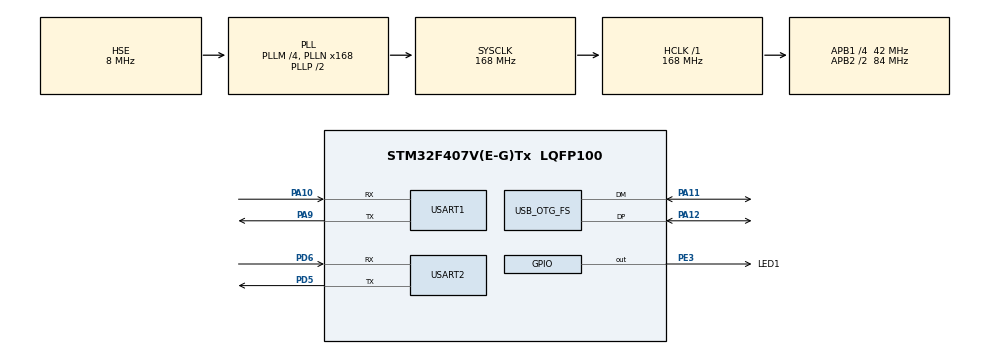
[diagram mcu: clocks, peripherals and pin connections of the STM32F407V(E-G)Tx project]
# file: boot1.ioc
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Mcu.Family=STM32F4
Mcu.Name=STM32F407V(E-G)Tx
Mcu.Package=LQFP100
NVIC.OTG_FS_IRQn=true\:0\:0\:false\:false\:true\:false\:true
NVIC.PriorityGroup=NVIC_PRIORITYGROUP_4
NVIC.USART1_IRQn=true\:0\:0\:false\:false\:true\:true\:true
PA10.Mode=Asynchronous
PA10.Signal=USART1_RX
PA11.Mode=Device_Only
PA11.Signal=USB_OTG_FS_DM
PA12.Mode=Device_Only
PA12.Signal=USB_OTG_FS_DP
PA13.Mode=Serial_Wire
PA13.Signal=SYS_JTMS-SWDIO
PA14.Mode=Serial_Wire
PA14.Signal=SYS_JTCK-SWCLK
PA9.Mode=Asynchronous
PA9.Signal=USART1_TX
PD5.Mode=Asynchronous
PD5.Signal=USART2_TX
PD6.Mode=Asynchronous
PD6.Signal=USART2_RX
PE3.GPIO_Label=LED1
PE3.Signal=GPIO_Output
PH0-OSC_IN.Mode=HSE-External-Oscillator
PH0-OSC_IN.Signal=RCC_OSC_IN
PH1-OSC_OUT.Mode=HSE-External-Oscillator
PH1-OSC_OUT.Signal=RCC_OSC_OUT
ProjectManager.HeapSize=0x1000
ProjectManager.StackSize=0x400
ProjectManager.TargetToolchain=MDK-ARM V5.32
RCC.48MHZClocksFreq_Value=48000000
RCC.AHBFreq_Value=168000000
RCC.APB1CLKDivider=RCC_HCLK_DIV4
RCC.APB1Freq_Value=42000000
RCC.APB1TimFreq_Value=84000000
RCC.APB2CLKDivider=RCC_HCLK_DIV2
RCC.APB2Freq_Value=84000000
RCC.APB2TimFreq_Value=168000000
RCC.CortexFreq_Value=168000000
RCC.HCLKFreq_Value=168000000
RCC.HSE_VALUE=8000000
RCC.HSI_VALUE=16000000
RCC.LSE_VALUE=32768
RCC.PLLM=4
RCC.PLLN=168
RCC.PLLQ=7
RCC.SYSCLKFreq_VALUE=168000000
RCC.SYSCLKSource=RCC_SYSCLKSOURCE_PLLCLK
RCC.VCOOutputFreq_Value=336000000
USART1.VirtualMode=VM_ASYNC
USART2.VirtualMode=VM_ASYNC
USB_DEVICE.CLASS_NAME_FS=MSC
USB_DEVICE.MSC_MEDIA_PACKET-MSC_FS=512
USB_DEVICE.USBD_MAX_STR_DESC_SIZ-MSC_FS=512
USB_DEVICE.VirtualMode-MSC_FS=Msc
USB_DEVICE.VirtualModeFS=Msc_FS
USB_OTG_FS.VirtualMode=Device_Only
VP_FATFS_VS_Generic.Mode=User_defined
VP_USB_DEVICE_VS_USB_DEVICE_MSC_FS.Mode=MSC_FS
board=custom

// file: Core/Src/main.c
/* USER CODE BEGIN Header */
/**
  ******************************************************************************
  * @file           : main.c
  * @brief          : Main program body
  ******************************************************************************
  * @attention
  *
  * <h2><center>&copy; Copyright (c) 2020 STMicroelectronics.
  * All rights reserved.</center></h2>
  *
  * This software component is licensed by ST under BSD 3-Clause license,
  * the "License"; You may not use this file except in compliance with the
  * License. You may obtain a copy of the License at:
  *                        opensource.org/licenses/BSD-3-Clause
  *
  ******************************************************************************
  */
/* USER CODE END Header */
#include "main.h"
#include "fatfs.h"
#include "usart.h"
#include "usb_device.h"
#include "gpio.h"

/* USER CODE BEGIN Includes */
#include "stmflash.h"
#include "kymodem.h"
#include "dev_com.h"
#include "drv_com.h"
#include "iap.h"
#include "flash_if.h"

/* USER CODE END Includes */

void SystemClock_Config(void);

/* USER CODE BEGIN 0 */

#define KAPP_ADDR  APPLICATION_ADDRESS

// -usb fatfs测试

FATFS fs;    // Work area (file system object) for logical drive
FIL fil;     // file objects
             /* File read buffers */
char filename[] = "0:/STM32cube.txt";
unsigned int count = 0;

unsigned char write_buf[50] = "skt t1 faker123\r\n";

uint8_t read_buf[8192];

#define WORK_BUFFER_SIZE  512
static char work_buffer[WORK_BUFFER_SIZE];
void ram_disk_test(void)
{
	FRESULT retSD;

	retSD = f_mkfs("0:/",FM_ANY,0,work_buffer,WORK_BUFFER_SIZE);
	if(retSD != FR_OK)
	{
			printf("f_mkfs sdcard error,err = %d\r\n", retSD);
			while(1);

	}else{
			printf("f_mk sdcard ok 1\r\n");

	}

		 printf("\r\n ****** FatFs Example ******\r\n\r\n");

    /*##-1- Register the file system object to the FatFs module ##############*/
	retSD = f_mount(&fs, "0:/", 0);
    if(retSD)
    {
        printf(" mount error : %d \r\n",retSD);
        Error_Handler();
    }
    else
        printf(" mount sucess!!! \r\n");

    // 挂载spi flash
    retSD = f_open(&USERFile, "0:/sudaroot.txt", FA_CREATE_ALWAYS | FA_WRITE);
    if(retSD == FR_OK)
    {
        printf("open ok\r\n");
        retSD = f_write(&USERFile, write_buf, strlen((const char *)write_buf), &count);
        if(retSD != FR_OK)
        {
            printf("f_write ,err = %d\r\n", retSD);
            count = 0;
            f_close(&USERFile);
        }
        else
        {
            printf("write ok:%d\n", count);
            printf("write buf :\r\n%s\r\n", write_buf);
            count = 0;
            f_close(&USERFile);
        }
    }
    else
    {
        printf("open sudaroot.txt,err = %d\r\n", retSD);
    }

    retSD = f_open(&USERFile, "0:/sudaroot.txt", FA_OPEN_EXISTING | FA_READ);
    if(retSD == FR_OK)
    {
        printf(" open sudaroot ok\r\n");
        retSD = f_read(&USERFile, read_buf, sizeof(read_buf), &count);
        if(retSD != FR_OK)
        {
            printf("f_read ,err = %d\r\n", retSD);
            f_close(&USERFile);
        }
        else
        {
            printf("open ok:%d\n", count);
            printf("read buf:\r\n%s\r\n", read_buf);
            f_close(&USERFile);
        }
    }
    else
    {
        printf("read sudaroot.txt ,err = %d\r\n", retSD);
    }
}

// usb完成之后读取bin
void system_usb_finish_read()
{
		FRESULT retSD;

		retSD = f_mount(&fs, "0:/", 0);
    if(retSD)
    {
        printf(" mount error : %d \r\n",retSD);
        Error_Handler();
    }
    else
        printf(" mount sucess!!! \r\n");

    retSD = f_open(&USERFile, "0:/update.bin", FA_OPEN_EXISTING | FA_READ);
    if(retSD == FR_OK)
    {
        printf(" open sudaroot ok\r\n");
        retSD = f_read(&USERFile, read_buf, sizeof(read_buf), &count);
        if(retSD != FR_OK)
        {
            printf("f_read ,err = %d\r\n", retSD);
            f_close(&USERFile);
        }
        else
        {
            printf("open ok: len == %d\n", count);
					  FLASH_If_Erase(KAPP_ADDR);
					  printf("flash erase ok\n");
						if (FLASH_If_Write(KAPP_ADDR,(uint32_t*)  read_buf, count/4) == FLASHIF_OK)
						{
							printf("data write ok\r\n");
							iap_load_app(KAPP_ADDR);
						}else{
								printf("data write error\r\n");
						}

            printf("read buf:\r\n%s\r\n", read_buf);
            f_close(&USERFile);
        }
    }
    else
    {
        printf("read sudaroot.txt ,err = %d\r\n", retSD);
    }
}

// fatfs init
void fatfs_init()
{
	FRESULT retSD;
	retSD = f_mkfs("0:/",FM_ANY,0,work_buffer,WORK_BUFFER_SIZE);
	if(retSD != FR_OK)
	{
			printf("f_mkfs sdcard error,err = %d\r\n", retSD);
			while(1);

	}else{
			printf("f_mk sdcard ok 1\r\n");

	}
}

/* USER CODE END 0 */

int main(void)
{

  /* MCU Configuration--------------------------------------------------------*/

  /* Reset of all peripherals, Initializes the Flash interface and the Systick. */
  HAL_Init();

  /* USER CODE BEGIN Init */
	FLASH_If_Init();
  /* USER CODE END Init */

  /* Configure the system clock */
  SystemClock_Config();

  /* Initialize all configured peripherals */
  MX_GPIO_Init();
  MX_USART1_UART_Init();
  MX_USART2_UART_Init();

	 MX_FATFS_Init();

	// 格式化fatfs
	 fatfs_init();
	 //ram_disk_test();
	 MX_USB_DEVICE_Init();
  /* USER CODE BEGIN 2 */

	LL_USART_EnableIT_RXNE(USART1);
	LL_USART_EnableIT_PE(USART1);

	dev_uart_init();
	printf("init\r\n");

	uint8_t old_usb_state = 0;
		uint8_t over_time = 0;
		uint8_t usb_input_state = 0;
  /* USER CODE END 2 */

  /* Infinite loop */
  /* USER CODE BEGIN WHILE */
  while (1)
  {
		dev_comctrl_handle();
		#ifdef USE_RX_MODE
		ymodem_loop();
		#endif

		if(hUsbDeviceFS.dev_state != old_usb_state){
			if(hUsbDeviceFS.dev_state== USBD_STATE_CONFIGURED){
				usb_input_state = 1;
				printf("usb 已经连接\r\n");
			}else if(hUsbDeviceFS.dev_state== USBD_STATE_SUSPENDED){
				printf("usb 断开成功\r\n");
				system_usb_finish_read();
			}else{
			}
			old_usb_state = hUsbDeviceFS.dev_state;
		}

		// 如果插入超时,
		if(over_time++>3){
			// 没检查到USB 直接运行APP
			if(usb_input_state == 0){
				printf("---system run -app\r\n");
				iap_load_app(KAPP_ADDR);
				printf("---system run -app error!!!!\r\n");
			}
		}
		HAL_Delay(1000);

    /* USER CODE END WHILE */

  }
}

void SystemClock_Config(void)
{
  RCC_OscInitTypeDef RCC_OscInitStruct = {0};
  RCC_ClkInitTypeDef RCC_ClkInitStruct = {0};

  /** Configure the main internal regulator output voltage
  */
  __HAL_RCC_PWR_CLK_ENABLE();
  __HAL_PWR_VOLTAGESCALING_CONFIG(PWR_REGULATOR_VOLTAGE_SCALE1);
  /** Initializes the RCC Oscillators according to the specified parameters
  * in the RCC_OscInitTypeDef structure.
  */
  RCC_OscInitStruct.OscillatorType = RCC_OSCILLATORTYPE_HSE;
  RCC_OscInitStruct.HSEState = RCC_HSE_ON;
  RCC_OscInitStruct.PLL.PLLState = RCC_PLL_ON;
  RCC_OscInitStruct.PLL.PLLSource = RCC_PLLSOURCE_HSE;
  RCC_OscInitStruct.PLL.PLLM = 4;
  RCC_OscInitStruct.PLL.PLLN = 168;
  RCC_OscInitStruct.PLL.PLLP = RCC_PLLP_DIV2;
  RCC_OscInitStruct.PLL.PLLQ = 7;
  if (HAL_RCC_OscConfig(&RCC_OscInitStruct) != HAL_OK)
  {
    Error_Handler();
  }
  /** Initializes the CPU, AHB and APB buses clocks
  */
  RCC_ClkInitStruct.ClockType = RCC_CLOCKTYPE_HCLK|RCC_CLOCKTYPE_SYSCLK
                              |RCC_CLOCKTYPE_PCLK1|RCC_CLOCKTYPE_PCLK2;
  RCC_ClkInitStruct.SYSCLKSource = RCC_SYSCLKSOURCE_PLLCLK;
  RCC_ClkInitStruct.AHBCLKDivider = RCC_SYSCLK_DIV1;
  RCC_ClkInitStruct.APB1CLKDivider = RCC_HCLK_DIV4;
  RCC_ClkInitStruct.APB2CLKDivider = RCC_HCLK_DIV2;

  if (HAL_RCC_ClockConfig(&RCC_ClkInitStruct, FLASH_LATENCY_5) != HAL_OK)
  {
    Error_Handler();
  }
}

void Error_Handler(void)
{
}

/************************ (C) COPYRIGHT STMicroelectronics *****END OF FILE****/
